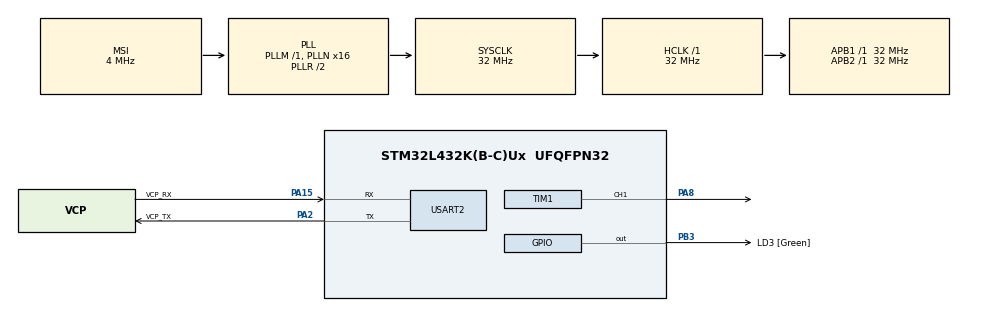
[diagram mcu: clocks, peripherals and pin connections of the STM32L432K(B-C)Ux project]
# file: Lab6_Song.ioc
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Mcu.Family=STM32L4
Mcu.Name=STM32L432K(B-C)Ux
Mcu.Package=UFQFPN32
NVIC.PriorityGroup=NVIC_PRIORITYGROUP_4
PA0.GPIO_Label=MCO [High speed clock in]
PA0.Mode=HSE-External-Clock-Source-for-LittleOrca
PA0.Signal=RCC_CK_IN
PA13\ (JTMS-SWDIO).GPIO_Label=SWDIO
PA13\ (JTMS-SWDIO).Mode=Serial_Wire
PA13\ (JTMS-SWDIO).Signal=SYS_JTMS-SWDIO
PA14\ (JTCK-SWCLK).GPIO_Label=SWCLK
PA14\ (JTCK-SWCLK).Mode=Serial_Wire
PA14\ (JTCK-SWCLK).Signal=SYS_JTCK-SWCLK
PA15\ (JTDI).GPIO_Label=VCP_RX
PA15\ (JTDI).Mode=Asynchronous
PA15\ (JTDI).Signal=USART2_RX
PA2.GPIO_Label=VCP_TX
PA2.Mode=Asynchronous
PA2.Signal=USART2_TX
PA8.Signal=S_TIM1_CH1
PB3\ (JTDO-TRACESWO).GPIO_Label=LD3 [Green]
PB3\ (JTDO-TRACESWO).Signal=GPIO_Output
PC14-OSC32_IN\ (PC14).Mode=LSE-External-Oscillator
PC14-OSC32_IN\ (PC14).Signal=RCC_OSC32_IN
PC15-OSC32_OUT\ (PC15).Mode=LSE-External-Oscillator
PC15-OSC32_OUT\ (PC15).Signal=RCC_OSC32_OUT
ProjectManager.HeapSize=0x200
ProjectManager.StackSize=0x400
ProjectManager.TargetToolchain=MDK-ARM V5.32
RCC.AHBFreq_Value=32000000
RCC.APB1Freq_Value=32000000
RCC.APB1TimFreq_Value=32000000
RCC.APB2Freq_Value=32000000
RCC.APB2TimFreq_Value=32000000
RCC.CortexFreq_Value=32000000
RCC.HCLKFreq_Value=32000000
RCC.HSE_VALUE=8000000
RCC.HSI16_VALUE=16000000
RCC.HSI48_VALUE=48000000
RCC.HSI_VALUE=16000000
RCC.MSI_VALUE=4000000
RCC.PLLMUL=RCC_PLLMUL_4
RCC.PLLN=16
RCC.SYSCLKFreq_VALUE=32000000
RCC.SYSCLKSource=RCC_SYSCLKSOURCE_PLLCLK
RCC.VCOOutputFreq_Value=64000000
SH.S_TIM1_CH1.0=TIM1_CH1,PWM Generation1 CH1
TIM1.Channel-PWM\ Generation1\ CH1=TIM_CHANNEL_1
TIM1.Period=99
TIM1.Prescaler=7
USART2.VirtualMode-Asynchronous=VM_ASYNC
VP_TIM1_VS_ClockSourceINT.Mode=Internal
board=NUCLEO-L432KC

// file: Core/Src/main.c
/* USER CODE BEGIN Header */
/**
  ******************************************************************************
  * @file           : main.c
  * @brief          : Main program body
  ******************************************************************************
  * @attention
  *
  * Copyright (c) 2024 STMicroelectronics.
  * All rights reserved.
  *
  * This software is licensed under terms that can be found in the LICENSE file
  * in the root directory of this software component.
  * If no LICENSE file comes with this software, it is provided AS-IS.
  *
  ******************************************************************************
  */
/* USER CODE END Header */
#include "main.h"

TIM_HandleTypeDef htim1;

UART_HandleTypeDef huart2;

void SystemClock_Config(void);
static void MX_GPIO_Init(void);
static void MX_USART2_UART_Init(void);
static void MX_TIM1_Init(void);
/* USER CODE BEGIN PFP */

void generateTone(char tone, int time, int octave, int pause){
	HAL_TIM_PWM_Start(&htim1, TIM_CHANNEL_1); //need to do this everytime so i can stop if i need to pause between tones
	__HAL_TIM_SET_COMPARE(&htim1, TIM_CHANNEL_1, 50); //need to do this everytime so i can stop if i need to pause between tones
	float frequency = 0;
		switch(tone){
			case 'd': //do
				frequency =  500;
				break;
			case 'r': //re
				frequency =  556.875 ;
				break;
			case 'm': //mi
				frequency = 594 ;
				break;
			case 'f': //fa
				frequency = 660.75 ;
				break;
			case 's': //sol
				frequency = 785;
				break;
			case 'l': //la
				frequency = 850;
				break;
			case 't': //ti
				frequency =  880;
				break;
		}
	frequency = frequency * octave;
	int presc = (SystemCoreClock/((__HAL_TIM_GET_AUTORELOAD(&htim1)+1)*frequency)) - 1;
	__HAL_TIM_SET_PRESCALER(&htim1, presc);
	HAL_Delay(time); //time to play tone
//	presc = (SystemCoreClock/((__HAL_TIM_GET_AUTORELOAD(&htim1)+1)*10)) - 1; // setting to 0z so essentially making no sound (outside of human hearing range)
	//__HAL_TIM_SET_PRESCALER(&htim1, presc);
	HAL_TIM_PWM_Stop(&htim1, TIM_CHANNEL_1);
	HAL_Delay(time); //time to pause until next tone

}

void playSway() {
	generateTone('m',200,2,0);
	generateTone('d',200,2,0);
	generateTone('m',200,2,0);
	generateTone('d',200,2,0);
	generateTone('m',200,2,0);
	generateTone('d',200,2,0);
	generateTone('m',200,2,0);
	generateTone('d',200,2,0);
	generateTone('f',400,2,100);
	generateTone('m',200,2,0);
	generateTone('r',400,2,100);
	generateTone('f',400,2,0);
	generateTone('m',200,2,0);
	generateTone('r',400,2,100);
	generateTone('m',400,2,0);
	generateTone('r',200,2,0);
	generateTone('d',400,2,200);
	generateTone('d',300,2,0);
	generateTone('l',200,1,0);
	generateTone('d',200,2,0);
	generateTone('l',200,1,0);
	generateTone('d',200,2,0);
	generateTone('r',400,2,0);
	generateTone('d',200,2,0);
	generateTone('t',400,1,200);
	generateTone('r',400,2,0);
	generateTone('d',200,2,0);
	generateTone('t',400,1,200);
	generateTone('d',400,2,0);
	generateTone('t',400,1,0);
	generateTone('l',400,1,200);
	generateTone('l',200,1,0);
	generateTone('t',200,1,0);
	generateTone('d',400,2,0);
	generateTone('t',400,1,0);
	generateTone('l',200,1,0);
	generateTone('t',400,1,0);
	generateTone('t',400,1,0);
	generateTone('d',200,2,0);
	generateTone('r',400,2,100);
	generateTone('t',200,1,0);
	generateTone('d',400,2,0);
	generateTone('r',400,2,0);
	generateTone('m',200,2,0);
	generateTone('f',400,2,0);
	generateTone('s',400,2,0);
	generateTone('s',400,2,0);
	generateTone('m',200,2,0);
	generateTone('s',400,2,3000);

}

void playFunky(){
	generateTone('s',100,2,1);
	generateTone('s',100,2,1);
	generateTone('s',100,2,1);
	generateTone('s',100,2,1);
	generateTone('s',100,2,1000);
	generateTone('s',100,2,1);
	generateTone('s',100,2,1);
	generateTone('s',100,2,1);
	generateTone('t',100,2,1);
	generateTone('s',100,2,1);
	generateTone('t',100,2,1);
	generateTone('m',100,2,1000);
	generateTone('s',100,2,1);
	generateTone('s',100,2,1);
	generateTone('s',100,2,1);
	generateTone('t',100,2,1);
	generateTone('s',100,2,1);
	generateTone('t',100,2,1);
	generateTone('m',100,2,1000);
	generateTone('s',100,2,1);
	generateTone('t',100,2,1);
	generateTone('m',100,2,1);
	generateTone('s',100,2,1);
	generateTone('t',100,2,1);
	generateTone('m',100,2,1);
	generateTone('s',100,2,1);
	generateTone('s',100,2,1);
	generateTone('s',100,2,1);
	generateTone('s',100,2,1);
	generateTone('s',100,2,1);
	generateTone('s',100,2,1);
	generateTone('d',100,2,1);
	generateTone('r',100,2,1);
	generateTone('d',100,2,1);
	generateTone('r',100,2,1000);
	generateTone('d',100,3,1);
	generateTone('r',100,2,1);
	generateTone('r',100,2,1);
	generateTone('m',100,2,1);
	generateTone('m',100,2,1);
	generateTone('m',100,2,1);
	generateTone('m',100,2,1);
	generateTone('r',100,2,1);
	generateTone('d',100,2,1);
	generateTone('s',200,2,1);
}
void playMario(){
	generateTone('m',100,2,0);
	generateTone('m',100,2,100);
	generateTone('m',100,2,200);
	generateTone('d',100,2,0);
	generateTone('m',100,2,100);
	generateTone('s',100,2,200);
	generateTone('s',200,1,1000);
}
/* USER CODE END PFP */

  int main(void){

  /* MCU Configuration--------------------------------------------------------*/

  /* Reset of all peripherals, Initializes the Flash interface and the Systick. */
  HAL_Init();

  /* Configure the system clock */
  SystemClock_Config();

  /* Initialize all configured peripherals */
  MX_GPIO_Init();
  MX_USART2_UART_Init();
  MX_TIM1_Init();

  /* Infinite loop */
  /* USER CODE BEGIN WHILE */
  while (1)
  {
		playSway();

		}
    /* USER CODE END WHILE */
}

void SystemClock_Config(void)
{
  RCC_OscInitTypeDef RCC_OscInitStruct = {0};
  RCC_ClkInitTypeDef RCC_ClkInitStruct = {0};

  /** Configure the main internal regulator output voltage
  */
  if (HAL_PWREx_ControlVoltageScaling(PWR_REGULATOR_VOLTAGE_SCALE1) != HAL_OK)
  {
    Error_Handler();
  }

  /** Configure LSE Drive Capability
  */
  HAL_PWR_EnableBkUpAccess();
  __HAL_RCC_LSEDRIVE_CONFIG(RCC_LSEDRIVE_LOW);

  /** Initializes the RCC Oscillators according to the specified parameters
  * in the RCC_OscInitTypeDef structure.
  */
  RCC_OscInitStruct.OscillatorType = RCC_OSCILLATORTYPE_LSE|RCC_OSCILLATORTYPE_MSI;
  RCC_OscInitStruct.LSEState = RCC_LSE_ON;
  RCC_OscInitStruct.MSIState = RCC_MSI_ON;
  RCC_OscInitStruct.MSICalibrationValue = 0;
  RCC_OscInitStruct.MSIClockRange = RCC_MSIRANGE_6;
  RCC_OscInitStruct.PLL.PLLState = RCC_PLL_ON;
  RCC_OscInitStruct.PLL.PLLSource = RCC_PLLSOURCE_MSI;
  RCC_OscInitStruct.PLL.PLLM = 1;
  RCC_OscInitStruct.PLL.PLLN = 16;
  RCC_OscInitStruct.PLL.PLLP = RCC_PLLP_DIV7;
  RCC_OscInitStruct.PLL.PLLQ = RCC_PLLQ_DIV2;
  RCC_OscInitStruct.PLL.PLLR = RCC_PLLR_DIV2;
  if (HAL_RCC_OscConfig(&RCC_OscInitStruct) != HAL_OK)
  {
    Error_Handler();
  }

  /** Initializes the CPU, AHB and APB buses clocks
  */
  RCC_ClkInitStruct.ClockType = RCC_CLOCKTYPE_HCLK|RCC_CLOCKTYPE_SYSCLK
                              |RCC_CLOCKTYPE_PCLK1|RCC_CLOCKTYPE_PCLK2;
  RCC_ClkInitStruct.SYSCLKSource = RCC_SYSCLKSOURCE_PLLCLK;
  RCC_ClkInitStruct.AHBCLKDivider = RCC_SYSCLK_DIV1;
  RCC_ClkInitStruct.APB1CLKDivider = RCC_HCLK_DIV1;
  RCC_ClkInitStruct.APB2CLKDivider = RCC_HCLK_DIV1;

  if (HAL_RCC_ClockConfig(&RCC_ClkInitStruct, FLASH_LATENCY_1) != HAL_OK)
  {
    Error_Handler();
  }

  /** Enable MSI Auto calibration
  */
  HAL_RCCEx_EnableMSIPLLMode();
}

static void MX_TIM1_Init(void)
{

  TIM_ClockConfigTypeDef sClockSourceConfig = {0};
  TIM_MasterConfigTypeDef sMasterConfig = {0};
  TIM_OC_InitTypeDef sConfigOC = {0};
  TIM_BreakDeadTimeConfigTypeDef sBreakDeadTimeConfig = {0};

  htim1.Instance = TIM1;
  htim1.Init.Prescaler = 7;
  htim1.Init.CounterMode = TIM_COUNTERMODE_UP;
  htim1.Init.Period = 99;
  htim1.Init.ClockDivision = TIM_CLOCKDIVISION_DIV1;
  htim1.Init.RepetitionCounter = 0;
  htim1.Init.AutoReloadPreload = TIM_AUTORELOAD_PRELOAD_DISABLE;
  if (HAL_TIM_Base_Init(&htim1) != HAL_OK)
  {
    Error_Handler();
  }
  sClockSourceConfig.ClockSource = TIM_CLOCKSOURCE_INTERNAL;
  if (HAL_TIM_ConfigClockSource(&htim1, &sClockSourceConfig) != HAL_OK)
  {
    Error_Handler();
  }
  if (HAL_TIM_PWM_Init(&htim1) != HAL_OK)
  {
    Error_Handler();
  }
  sMasterConfig.MasterOutputTrigger = TIM_TRGO_RESET;
  sMasterConfig.MasterOutputTrigger2 = TIM_TRGO2_RESET;
  sMasterConfig.MasterSlaveMode = TIM_MASTERSLAVEMODE_DISABLE;
  if (HAL_TIMEx_MasterConfigSynchronization(&htim1, &sMasterConfig) != HAL_OK)
  {
    Error_Handler();
  }
  sConfigOC.OCMode = TIM_OCMODE_PWM1;
  sConfigOC.Pulse = 0;
  sConfigOC.OCPolarity = TIM_OCPOLARITY_HIGH;
  sConfigOC.OCNPolarity = TIM_OCNPOLARITY_HIGH;
  sConfigOC.OCFastMode = TIM_OCFAST_DISABLE;
  sConfigOC.OCIdleState = TIM_OCIDLESTATE_RESET;
  sConfigOC.OCNIdleState = TIM_OCNIDLESTATE_RESET;
  if (HAL_TIM_PWM_ConfigChannel(&htim1, &sConfigOC, TIM_CHANNEL_1) != HAL_OK)
  {
    Error_Handler();
  }
  sBreakDeadTimeConfig.OffStateRunMode = TIM_OSSR_DISABLE;
  sBreakDeadTimeConfig.OffStateIDLEMode = TIM_OSSI_DISABLE;
  sBreakDeadTimeConfig.LockLevel = TIM_LOCKLEVEL_OFF;
  sBreakDeadTimeConfig.DeadTime = 0;
  sBreakDeadTimeConfig.BreakState = TIM_BREAK_DISABLE;
  sBreakDeadTimeConfig.BreakPolarity = TIM_BREAKPOLARITY_HIGH;
  sBreakDeadTimeConfig.BreakFilter = 0;
  sBreakDeadTimeConfig.Break2State = TIM_BREAK2_DISABLE;
  sBreakDeadTimeConfig.Break2Polarity = TIM_BREAK2POLARITY_HIGH;
  sBreakDeadTimeConfig.Break2Filter = 0;
  sBreakDeadTimeConfig.AutomaticOutput = TIM_AUTOMATICOUTPUT_DISABLE;
  if (HAL_TIMEx_ConfigBreakDeadTime(&htim1, &sBreakDeadTimeConfig) != HAL_OK)
  {
    Error_Handler();
  }
  HAL_TIM_MspPostInit(&htim1);

}

static void MX_USART2_UART_Init(void)
{

  huart2.Instance = USART2;
  huart2.Init.BaudRate = 115200;
  huart2.Init.WordLength = UART_WORDLENGTH_8B;
  huart2.Init.StopBits = UART_STOPBITS_1;
  huart2.Init.Parity = UART_PARITY_NONE;
  huart2.Init.Mode = UART_MODE_TX_RX;
  huart2.Init.HwFlowCtl = UART_HWCONTROL_NONE;
  huart2.Init.OverSampling = UART_OVERSAMPLING_16;
  huart2.Init.OneBitSampling = UART_ONE_BIT_SAMPLE_DISABLE;
  huart2.AdvancedInit.AdvFeatureInit = UART_ADVFEATURE_NO_INIT;
  if (HAL_UART_Init(&huart2) != HAL_OK)
  {
    Error_Handler();
  }

}

static void MX_GPIO_Init(void)
{
  GPIO_InitTypeDef GPIO_InitStruct = {0};

  /* GPIO Ports Clock Enable */
  __HAL_RCC_GPIOC_CLK_ENABLE();
  __HAL_RCC_GPIOA_CLK_ENABLE();
  __HAL_RCC_GPIOB_CLK_ENABLE();

  /*Configure GPIO pin Output Level */
  HAL_GPIO_WritePin(LD3_GPIO_Port, LD3_Pin, GPIO_PIN_RESET);

  /*Configure GPIO pin : LD3_Pin */
  GPIO_InitStruct.Pin = LD3_Pin;
  GPIO_InitStruct.Mode = GPIO_MODE_OUTPUT_PP;
  GPIO_InitStruct.Pull = GPIO_NOPULL;
  GPIO_InitStruct.Speed = GPIO_SPEED_FREQ_LOW;
  HAL_GPIO_Init(LD3_GPIO_Port, &GPIO_InitStruct);

}

void Error_Handler(void)
{
  __disable_irq();
  while (1)
  {
  }
}
